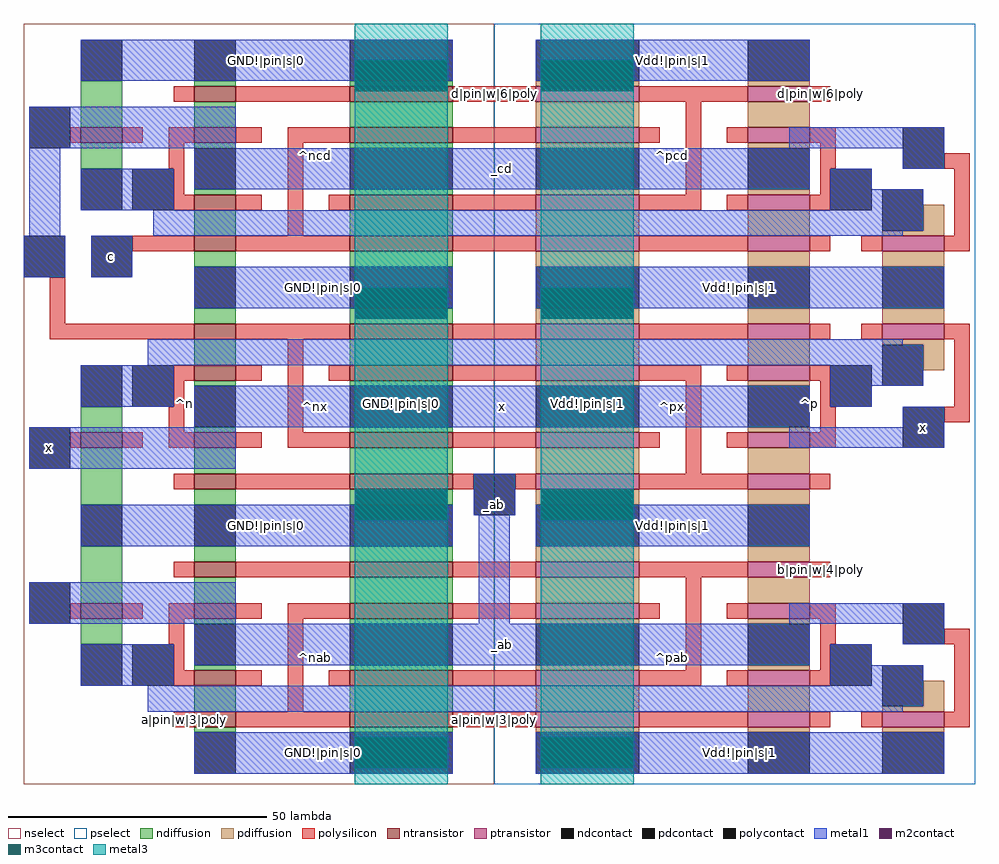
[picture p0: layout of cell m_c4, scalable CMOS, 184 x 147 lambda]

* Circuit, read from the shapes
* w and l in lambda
.subckt m_c4 GND!|pin|s|0 Vdd!|pin|s|1 _ab _cd a|pin|w|3|poly b|pin|w|4|poly c d|pin|w|6|poly x
M1 GND!|pin|s|0 _ab n1 VSUBS nfet w=8 l=3
M2 n2 x GND!|pin|s|0 VSUBS nfet w=8 l=3
M3 GND!|pin|s|0 _cd n3 VSUBS nfet w=8 l=3
M4 n4 a|pin|w|3|poly GND!|pin|s|0 VSUBS nfet w=8 l=3
M5 _ab n1 n4 VSUBS nfet w=8 l=3
M6 n5 n1 _ab VSUBS nfet w=8 l=3
M7 GND!|pin|s|0 b|pin|w|4|poly n5 VSUBS nfet w=8 l=3
M8 n6 _ab GND!|pin|s|0 VSUBS nfet w=8 l=3
M9 x n2 n6 VSUBS nfet w=8 l=3
M10 n7 n2 x VSUBS nfet w=8 l=3
M11 GND!|pin|s|0 _cd n7 VSUBS nfet w=8 l=3
M12 n8 c GND!|pin|s|0 VSUBS nfet w=8 l=3
M13 _cd n3 n8 VSUBS nfet w=8 l=3
M14 n9 n3 _cd VSUBS nfet w=8 l=3
M15 GND!|pin|s|0 d|pin|w|6|poly n9 VSUBS nfet w=8 l=3
M16 n10 a|pin|w|3|poly GND!|pin|s|0 VSUBS nfet w=20 l=3
M17 _ab b|pin|w|4|poly n10 VSUBS nfet w=20 l=3
M18 n11 a|pin|w|3|poly _ab VSUBS nfet w=20 l=3
M19 GND!|pin|s|0 b|pin|w|4|poly n11 VSUBS nfet w=20 l=3
M20 n12 _ab GND!|pin|s|0 VSUBS nfet w=20 l=3
M21 x _cd n12 VSUBS nfet w=20 l=3
M22 n13 _ab x VSUBS nfet w=20 l=3
M23 GND!|pin|s|0 _cd n13 VSUBS nfet w=20 l=3
M24 n14 c GND!|pin|s|0 VSUBS nfet w=20 l=3
M25 _cd d|pin|w|6|poly n14 VSUBS nfet w=20 l=3
M26 n15 c _cd VSUBS nfet w=20 l=3
M27 GND!|pin|s|0 d|pin|w|6|poly n15 VSUBS nfet w=20 l=3
M28 n16 a|pin|w|3|poly Vdd!|pin|s|1 NWELL pfet w=20 l=3
M29 _ab b|pin|w|4|poly n16 NWELL pfet w=20 l=3
M30 n17 a|pin|w|3|poly _ab NWELL pfet w=20 l=3
M31 Vdd!|pin|s|1 b|pin|w|4|poly n17 NWELL pfet w=20 l=3
M32 n18 _ab Vdd!|pin|s|1 NWELL pfet w=20 l=3
M33 x _cd n18 NWELL pfet w=20 l=3
M34 n19 _ab x NWELL pfet w=20 l=3
M35 Vdd!|pin|s|1 _cd n19 NWELL pfet w=20 l=3
M36 n20 c Vdd!|pin|s|1 NWELL pfet w=20 l=3
M37 _cd d|pin|w|6|poly n20 NWELL pfet w=20 l=3
M38 n21 c _cd NWELL pfet w=20 l=3
M39 Vdd!|pin|s|1 d|pin|w|6|poly n21 NWELL pfet w=20 l=3
M40 n22 a|pin|w|3|poly Vdd!|pin|s|1 NWELL pfet w=12 l=3
M41 _ab n1 n22 NWELL pfet w=12 l=3
M42 n23 n1 _ab NWELL pfet w=12 l=3
M43 Vdd!|pin|s|1 b|pin|w|4|poly n23 NWELL pfet w=12 l=3
M44 n24 _ab Vdd!|pin|s|1 NWELL pfet w=12 l=3
M45 x n2 n24 NWELL pfet w=12 l=3
M46 n25 n2 x NWELL pfet w=12 l=3
M47 Vdd!|pin|s|1 _cd n25 NWELL pfet w=12 l=3
M48 n26 c Vdd!|pin|s|1 NWELL pfet w=12 l=3
M49 _cd n3 n26 NWELL pfet w=12 l=3
M50 n27 n3 _cd NWELL pfet w=12 l=3
M51 Vdd!|pin|s|1 d|pin|w|6|poly n27 NWELL pfet w=12 l=3
M52 n1 _ab Vdd!|pin|s|1 NWELL pfet w=12 l=3
M53 Vdd!|pin|s|1 x n2 NWELL pfet w=12 l=3
M54 n3 _cd Vdd!|pin|s|1 NWELL pfet w=12 l=3
.ends

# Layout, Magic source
magic
tech scmos
<< nselect >>
rect -91 47 0 194
<< pselect >>
rect 0 47 93 194
<< ndiffusion >>
rect -80 174 -72 183
rect -58 182 -50 183
rect -28 182 -8 183
rect -58 174 -50 179
rect -28 174 -8 179
rect -80 166 -72 171
rect -58 170 -50 171
rect -58 161 -50 162
rect -58 153 -50 158
rect -28 170 -8 171
rect -28 161 -8 162
rect -28 153 -8 158
rect -58 147 -50 150
rect -58 136 -50 139
rect -28 147 -8 150
rect -28 136 -8 139
rect -58 128 -50 133
rect -80 115 -72 120
rect -58 124 -50 125
rect -58 115 -50 116
rect -28 128 -8 133
rect -28 124 -8 125
rect -28 115 -8 116
rect -80 101 -72 112
rect -58 107 -50 112
rect -28 107 -8 112
rect -80 82 -72 93
rect -58 101 -50 104
rect -58 90 -50 93
rect -28 101 -8 104
rect -28 90 -8 93
rect -58 82 -50 87
rect -28 82 -8 87
rect -80 74 -72 79
rect -58 78 -50 79
rect -58 69 -50 70
rect -58 61 -50 66
rect -28 78 -8 79
rect -28 69 -8 70
rect -28 61 -8 66
rect -58 57 -50 58
rect -28 57 -8 58
<< pdiffusion >>
rect 8 182 28 183
rect 49 182 61 183
rect 8 174 28 179
rect 8 170 28 171
rect 8 161 28 162
rect 49 174 61 179
rect 49 170 61 171
rect 49 161 61 162
rect 8 153 28 158
rect 49 153 61 158
rect 83 154 87 159
rect 75 153 87 154
rect 8 147 28 150
rect 8 136 28 139
rect 49 147 61 150
rect 49 136 61 139
rect 75 147 87 150
rect 75 136 87 139
rect 8 128 28 133
rect 49 128 61 133
rect 75 132 87 133
rect 8 124 28 125
rect 8 115 28 116
rect 8 107 28 112
rect 49 124 61 125
rect 49 115 61 116
rect 83 127 87 132
rect 49 107 61 112
rect 8 101 28 104
rect 8 90 28 93
rect 49 101 61 104
rect 49 90 61 93
rect 8 82 28 87
rect 8 78 28 79
rect 8 69 28 70
rect 49 82 61 87
rect 49 78 61 79
rect 49 69 61 70
rect 8 61 28 66
rect 49 61 61 66
rect 83 62 87 67
rect 75 61 87 62
rect 8 57 28 58
rect 49 57 61 58
rect 75 57 87 58
<< ntransistor >>
rect -58 179 -50 182
rect -28 179 -8 182
rect -80 171 -72 174
rect -58 171 -50 174
rect -28 171 -8 174
rect -58 158 -50 161
rect -28 158 -8 161
rect -58 150 -50 153
rect -28 150 -8 153
rect -58 133 -50 136
rect -28 133 -8 136
rect -58 125 -50 128
rect -28 125 -8 128
rect -80 112 -72 115
rect -58 112 -50 115
rect -28 112 -8 115
rect -58 104 -50 107
rect -28 104 -8 107
rect -58 87 -50 90
rect -28 87 -8 90
rect -80 79 -72 82
rect -58 79 -50 82
rect -28 79 -8 82
rect -58 66 -50 69
rect -28 66 -8 69
rect -58 58 -50 61
rect -28 58 -8 61
<< ptransistor >>
rect 8 179 28 182
rect 49 179 61 182
rect 8 171 28 174
rect 49 171 61 174
rect 8 158 28 161
rect 49 158 61 161
rect 8 150 28 153
rect 49 150 61 153
rect 75 150 87 153
rect 8 133 28 136
rect 49 133 61 136
rect 75 133 87 136
rect 8 125 28 128
rect 49 125 61 128
rect 8 112 28 115
rect 49 112 61 115
rect 8 104 28 107
rect 49 104 61 107
rect 8 87 28 90
rect 49 87 61 90
rect 8 79 28 82
rect 49 79 61 82
rect 8 66 28 69
rect 49 66 61 69
rect 8 58 28 61
rect 49 58 61 61
rect 75 58 87 61
<< polysilicon >>
rect -62 179 -58 182
rect -50 179 -28 182
rect -8 179 8 182
rect 28 179 49 182
rect 61 179 65 182
rect -82 171 -80 174
rect -72 171 -68 174
rect -63 171 -58 174
rect -50 171 -45 174
rect -40 171 -28 174
rect -8 171 8 174
rect 28 171 32 174
rect -63 166 -60 171
rect -62 161 -60 166
rect -62 158 -58 161
rect -50 158 -45 161
rect -40 153 -37 171
rect 37 161 40 179
rect 45 171 49 174
rect 61 171 66 174
rect 63 166 66 171
rect 87 166 92 169
rect 63 161 65 166
rect -32 158 -28 161
rect -8 158 8 161
rect 28 158 40 161
rect 45 158 49 161
rect 61 158 65 161
rect 89 153 92 166
rect -70 150 -58 153
rect -50 150 -28 153
rect -8 150 8 153
rect 28 150 49 153
rect 61 150 65 153
rect 71 150 75 153
rect 87 150 92 153
rect -86 136 -83 145
rect -86 133 -58 136
rect -50 133 -28 136
rect -8 133 8 136
rect 28 133 49 136
rect 61 133 65 136
rect 71 133 75 136
rect 87 133 92 136
rect -62 125 -58 128
rect -50 125 -45 128
rect -62 120 -60 125
rect -63 115 -60 120
rect -40 115 -37 133
rect -32 125 -28 128
rect -8 125 8 128
rect 28 125 40 128
rect 45 125 49 128
rect 61 125 65 128
rect -82 112 -80 115
rect -72 112 -68 115
rect -63 112 -58 115
rect -50 112 -45 115
rect -40 112 -28 115
rect -8 112 8 115
rect 28 112 32 115
rect 37 107 40 125
rect 63 120 65 125
rect 89 120 92 133
rect 63 115 66 120
rect 45 112 49 115
rect 61 112 66 115
rect 87 117 92 120
rect -62 104 -58 107
rect -50 104 -28 107
rect -8 104 -4 107
rect 4 104 8 107
rect 28 104 49 107
rect 61 104 65 107
rect -62 87 -58 90
rect -50 87 -28 90
rect -8 87 8 90
rect 28 87 49 90
rect 61 87 65 90
rect -82 79 -80 82
rect -72 79 -68 82
rect -63 79 -58 82
rect -50 79 -45 82
rect -40 79 -28 82
rect -8 79 8 82
rect 28 79 32 82
rect -63 74 -60 79
rect -62 69 -60 74
rect -62 66 -58 69
rect -50 66 -45 69
rect -40 61 -37 79
rect 37 69 40 87
rect 45 79 49 82
rect 61 79 66 82
rect 63 74 66 79
rect 87 74 92 77
rect 63 69 65 74
rect -32 66 -28 69
rect -8 66 8 69
rect 28 66 40 69
rect 45 66 49 69
rect 61 66 65 69
rect 89 61 92 74
rect -62 58 -58 61
rect -50 58 -28 61
rect -8 58 8 61
rect 28 58 49 61
rect 61 58 65 61
rect 71 58 75 61
rect 87 58 92 61
<< ndcontact >>
rect -80 183 -72 191
rect -58 183 -50 191
rect -28 183 -8 191
rect -80 158 -72 166
rect -58 162 -50 170
rect -28 162 -8 170
rect -58 139 -50 147
rect -28 139 -8 147
rect -80 120 -72 128
rect -58 116 -50 124
rect -28 116 -8 124
rect -80 93 -72 101
rect -58 93 -50 101
rect -28 93 -8 101
rect -80 66 -72 74
rect -58 70 -50 78
rect -28 70 -8 78
rect -58 49 -50 57
rect -28 49 -8 57
<< pdcontact >>
rect 8 183 28 191
rect 49 183 61 191
rect 8 162 28 170
rect 49 162 61 170
rect 75 154 83 162
rect 8 139 28 147
rect 49 139 61 147
rect 75 139 87 147
rect 8 116 28 124
rect 49 116 61 124
rect 75 124 83 132
rect 8 93 28 101
rect 49 93 61 101
rect 8 70 28 78
rect 49 70 61 78
rect 75 62 83 70
rect 8 49 28 57
rect 49 49 61 57
rect 75 49 87 57
<< polycontact >>
rect -90 170 -82 178
rect -70 158 -62 166
rect 79 166 87 174
rect 65 158 73 166
rect -91 145 -83 153
rect -78 145 -70 153
rect -70 120 -62 128
rect -90 108 -82 116
rect 65 120 73 128
rect 79 112 87 120
rect -90 78 -82 86
rect -4 99 4 107
rect -70 66 -62 74
rect 79 74 87 82
rect 65 66 73 74
<< metal1 >>
rect -80 187 -8 191
rect -80 183 -27 187
rect -9 183 -8 187
rect 8 187 61 191
rect 8 183 9 187
rect 27 183 61 187
rect -90 170 -50 178
rect 57 170 87 174
rect -90 153 -84 170
rect -80 158 -62 166
rect -58 162 61 170
rect 79 166 87 170
rect 65 162 73 166
rect 65 158 83 162
rect -66 154 83 158
rect -66 153 79 154
rect -91 145 -83 153
rect -78 145 -70 153
rect -58 143 -8 147
rect -58 139 -27 143
rect -9 139 -8 143
rect 8 143 87 147
rect 8 139 9 143
rect 27 139 87 143
rect -67 132 79 133
rect -67 128 83 132
rect -80 120 -62 128
rect 65 124 83 128
rect -58 116 61 124
rect 65 120 73 124
rect 79 116 87 120
rect -90 108 -50 116
rect 57 112 87 116
rect -80 98 -27 101
rect -9 98 -8 101
rect -4 99 4 107
rect -80 93 -8 98
rect -90 78 -50 86
rect -3 78 3 99
rect 8 98 9 101
rect 27 98 61 101
rect 8 93 61 98
rect 57 78 87 82
rect -80 66 -62 74
rect -58 70 61 78
rect 79 74 87 78
rect 65 70 73 74
rect 65 66 83 70
rect -67 62 83 66
rect -67 61 79 62
rect -58 56 -8 57
rect -58 50 -27 56
rect -9 50 -8 56
rect -58 49 -8 50
rect 8 56 87 57
rect 8 50 9 56
rect 27 50 87 56
rect 8 49 87 50
<< m2contact >>
rect -27 181 -9 187
rect 9 181 27 187
rect -27 137 -9 143
rect 9 137 27 143
rect -27 98 -9 104
rect 9 98 27 104
rect -27 50 -9 56
rect 9 50 27 56
<< m3contact >>
rect -27 181 -9 187
rect 9 181 27 187
rect -27 137 -9 143
rect 9 137 27 143
rect -27 98 -9 104
rect 9 98 27 104
rect -27 50 -9 56
rect 9 50 27 56
<< metal3 >>
rect -27 47 -9 194
rect 9 47 27 194
<< labels >>
rlabel metal1 -86 112 -86 112 1 x
rlabel metal1 83 116 83 116 1 x
rlabel metal1 -58 116 61 124 1 x
rlabel metal1 0 101 0 101 1 _ab
rlabel metal1 -58 70 61 78 1 _ab
rlabel metal1 -58 162 61 170 1 _cd
rlabel metal1 -78 145 -70 153 1 c
rlabel nselect -41 100 -28 140 3 ^nx
rlabel pselect 28 100 41 140 7 ^px
rlabel space -92 47 -28 194 7 ^n
rlabel space 28 47 94 194 3 ^p
rlabel nselect -41 49 -28 94 3 ^nab
rlabel pselect 28 49 41 94 7 ^pab
rlabel nselect -41 146 -28 191 3 ^ncd
rlabel pselect 28 146 41 191 7 ^pcd
rlabel metal3 -27 47 -9 194 1 GND!|pin|s|0
rlabel metal3 9 47 27 194 1 Vdd!|pin|s|1
rlabel metal1 -80 183 -8 191 1 GND!|pin|s|0
rlabel metal1 -80 93 -8 101 1 GND!|pin|s|0
rlabel metal1 -58 49 -8 57 1 GND!|pin|s|0
rlabel metal1 -58 139 -8 147 1 GND!|pin|s|0
rlabel metal1 8 183 61 191 1 Vdd!|pin|s|1
rlabel metal1 8 93 61 101 1 Vdd!|pin|s|1
rlabel metal1 8 49 87 57 1 Vdd!|pin|s|1
rlabel metal1 8 139 87 147 1 Vdd!|pin|s|1
rlabel polysilicon -2 58 2 61 1 a|pin|w|3|poly
rlabel polysilicon -62 58 -58 61 1 a|pin|w|3|poly
rlabel polysilicon 61 87 65 90 1 b|pin|w|4|poly
rlabel polysilicon -2 179 2 182 1 d|pin|w|6|poly
rlabel polysilicon 61 179 65 182 1 d|pin|w|6|poly
<< end >>
